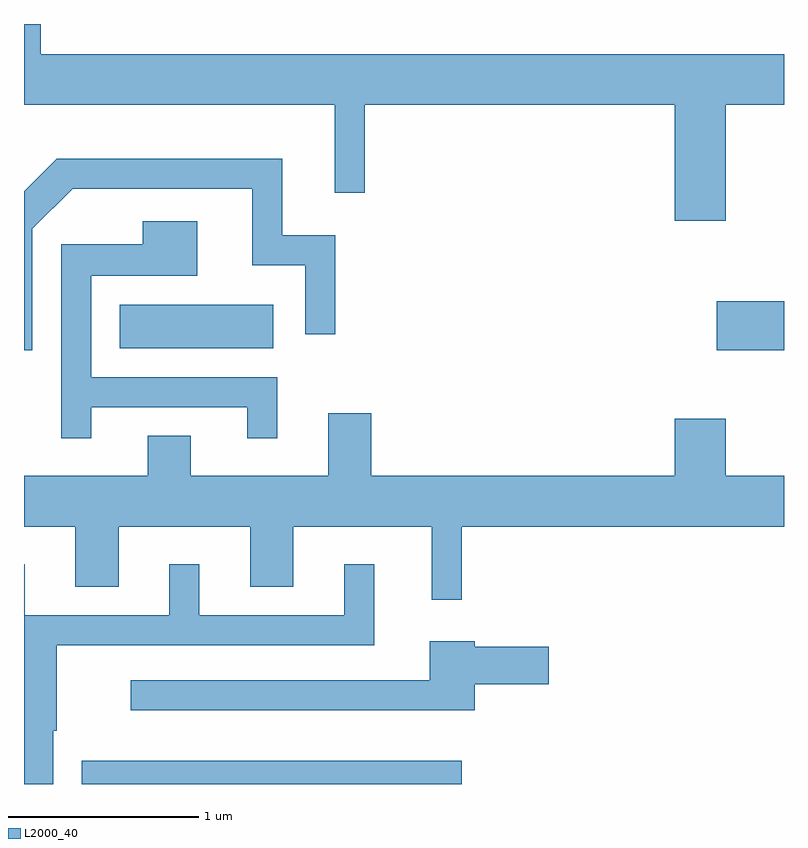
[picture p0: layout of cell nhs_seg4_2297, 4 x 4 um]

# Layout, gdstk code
import gdstk
lib = gdstk.Library(unit=1e-6, precision=1e-09)
def R(c, l, rs):  # rectangles x0, y0, x1, y1
    for r in rs: c.add(gdstk.rectangle(r[:2], r[2:], *l))
def P(c, l, *ps):  # polygons
    for p in ps: c.add(gdstk.Polygon(p, *l))
L2000_40 = (2000, 40)

nhs_seg4_2297 = lib.new_cell('nhs_seg4_2297')
R(nhs_seg4_2297, L2000_40, [(251.916,1359.982,253.914,1360.104), (255.256,1362.266,255.611,1362.524), (252.116,1362.276,252.924,1362.504)])
P(nhs_seg4_2297, L2000_40, [(255.304,1363.556),(255.611,1363.556),(255.611,1363.824),(251.699,1363.824),(251.699,1363.982),(251.611,1363.982),(251.611,1363.556),(253.246,1363.556),(253.246,1363.093),(253.404,1363.093),(253.404,1363.556),(255.036,1363.556),(255.036,1362.946),(255.304,1362.946)],
  [(251.654,1362.904),(251.867,1363.116),(252.811,1363.116),(252.811,1362.711),(253.091,1362.711),(253.091,1362.348),(253.249,1362.348),(253.249,1362.869),(252.969,1362.869),(252.969,1363.274),(251.784,1363.274),(251.611,1363.102),(251.611,1362.266),(251.654,1362.266)],
  [(251.964,1361.966),(252.786,1361.966),(252.786,1361.803),(252.944,1361.803),(252.944,1362.124),(251.964,1362.124),(251.964,1362.656),(252.524,1362.656),(252.524,1362.944),(252.236,1362.944),(252.236,1362.824),(251.806,1362.824),(251.806,1361.803),(251.964,1361.803)],
  [(253.914,1361.336),(255.611,1361.336),(255.611,1361.604),(255.304,1361.604),(255.304,1361.904),(255.036,1361.904),(255.036,1361.604),(253.439,1361.604),(253.439,1361.934),(253.211,1361.934),(253.211,1361.604),(252.489,1361.604),(252.489,1361.814),(252.261,1361.814),(252.261,1361.604),(251.611,1361.604),(251.611,1361.336),(251.881,1361.336),(251.881,1361.021),(252.109,1361.021),(252.109,1361.336),(252.801,1361.336),(252.801,1361.021),(253.029,1361.021),(253.029,1361.336),(253.756,1361.336),(253.756,1360.953),(253.914,1360.953)],
  [(251.764,1360.261),(251.784,1360.261),(251.784,1360.711),(253.454,1360.711),(253.454,1361.138),(253.296,1361.138),(253.296,1360.869),(252.534,1360.869),(252.534,1361.138),(252.376,1361.138),(252.376,1360.869),(251.614,1360.869),(251.614,1361.138),(251.611,1361.138),(251.611,1359.982),(251.764,1359.982)],
  [(253.984,1360.506),(254.374,1360.506),(254.374,1360.704),(253.984,1360.704),(253.984,1360.734),(253.746,1360.734),(253.746,1360.529),(252.173,1360.529),(252.173,1360.371),(253.984,1360.371)])

lib.write_gds('nhs_seg4_2297.gds')
